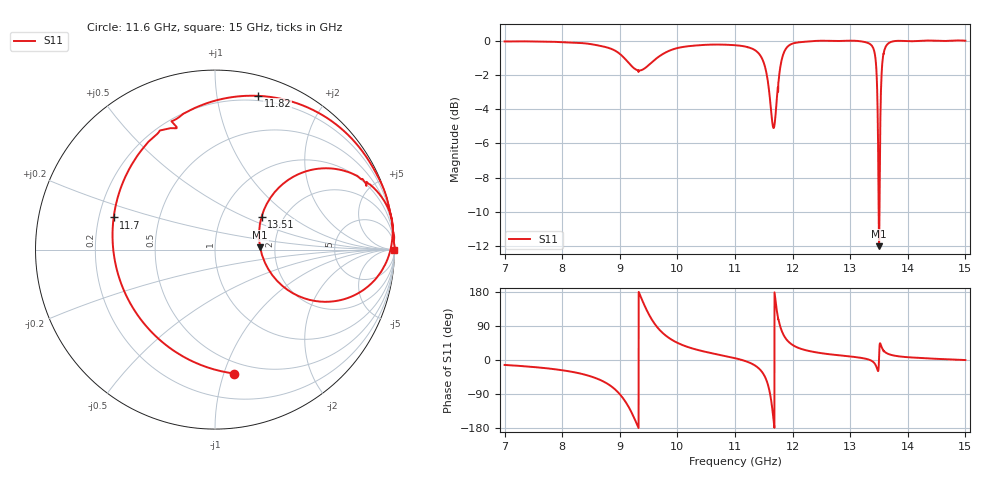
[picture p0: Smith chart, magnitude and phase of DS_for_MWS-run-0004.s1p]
! TOUCHSTONE file generated by CST DESIGN STUDIO
! Date and time: Mon Feb 10 16:42:52 2025
! Project name: C:\Work\MatlabApps\UnitCellType2OptimizationMatlab\CST\unitcell.cst
! Tree item: Tasks\Sweep1\SPara1\S-Parameters
! Header version: 2024
! Port assignment regex: !\s*Touchstone port\s*([0-9]+)\s*=\s*(CST MWS port|CST DES external port|CST DES block port)\s*(.+)\s* \(\"(.*)\"\)(\s*mode\s*([0-9]+))?.*
! Touchstone port assignment:
! Touchstone port 1 = CST DES external port 1 ("")
# GHz S MA R 50
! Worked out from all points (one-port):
!   4001 points, 7 GHz to 15 GHz, reference 50 ohm
!   lowest |S11| = -12.0 dB at 13.5 GHz (marker M1), VSWR 1.67, Z = 83.5 + j2.44 ohm
!   |S11| at or under -10 dB: 13.49396 GHz to 13.50787 GHz (13.9 MHz wide, 0.103 % of centre)
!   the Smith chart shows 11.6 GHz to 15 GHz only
!   S11 on the Smith chart (normalised r, x): 11.6 GHz: 0.40, -1.08; 11.7 GHz: 0.26, +0.14; 11.82 GHz: 0.16, +1.31; 13.51 GHz: 1.54, +0.63; 15 GHz: open
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7  0.9947 -13.0
8  0.9895 -27.0
8.634  0.9676 -50.9
9  0.9151 -90.3
9.172  0.8545 -129.0
9.35  0.8186 171.9
9.472  0.8402 130.1
9.588  0.8742 99.2
9.776  0.92 67.1
10  0.9515 45.4
11  0.9699 4.9
11.428  0.9107 -24.3
11.524  0.8352 -45.5
11.598  0.6985 -81.2
11.644  0.584 -124.7
11.698  0.5923 162.4
11.756  0.7592 106.4
11.818  0.8896 74.3
12  0.9804 39.6
13  0.9997 9.4
13.392  0.9574 -4.1
13.458  0.8014 -19.2
13.5  0.2515 3.1
13.508  0.3184 35.3
13.552  0.8353 32.0
13.632  0.9698 18.1
14  0.9965 7.3
15  0.9997 -0.1
